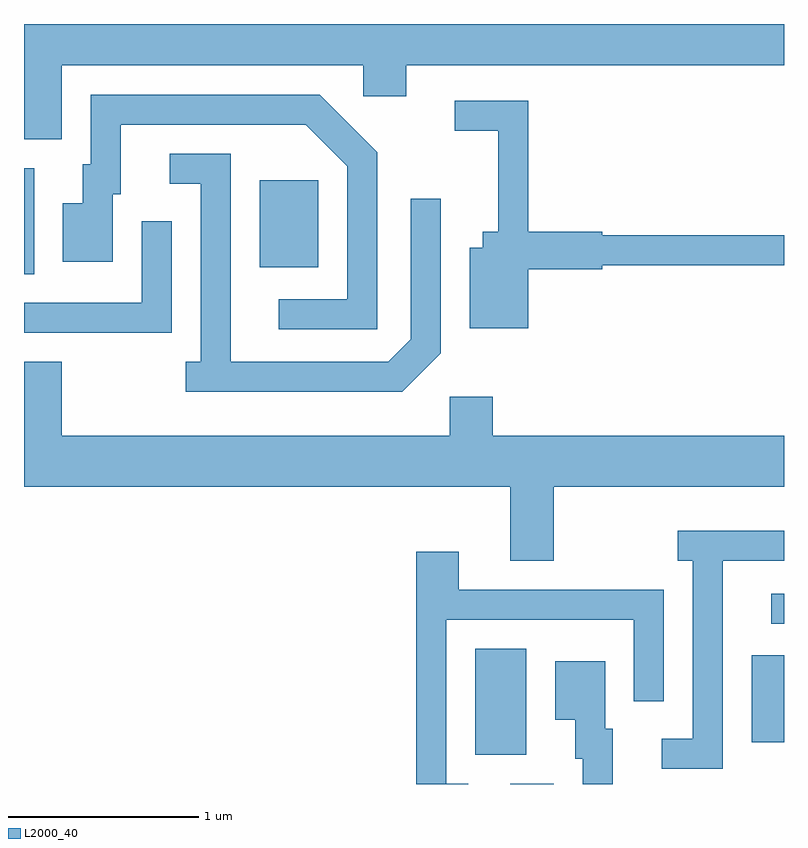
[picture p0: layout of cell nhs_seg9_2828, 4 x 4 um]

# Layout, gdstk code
import gdstk
lib = gdstk.Library(unit=1e-6, precision=1e-09)
def R(c, l, rs):  # rectangles x0, y0, x1, y1
    for r in rs: c.add(gdstk.rectangle(r[:2], r[2:], *l))
def P(c, l, *ps):  # polygons
    for p in ps: c.add(gdstk.Polygon(p, *l))
L2000_40 = (2000, 40)

nhs_seg9_2828 = lib.new_cell('nhs_seg9_2828')
R(nhs_seg9_2828, L2000_40, [(270.171,2032.432,270.399,2032.434), (269.986,2032.586,270.254,2033.144), (271.441,2032.651,271.611,2033.109), (271.543,2033.276,271.611,2033.434), (267.611,2035.116,267.664,2035.674), (268.851,2035.151,269.159,2035.609)])
P(nhs_seg9_2828, L2000_40, [(267.809,2036.216),(269.396,2036.216),(269.396,2036.051),(269.624,2036.051),(269.624,2036.216),(271.611,2036.216),(271.611,2036.432),(267.611,2036.432),(267.611,2035.826),(267.809,2035.826)],
  [(269.469,2035.757),(269.167,2036.059),(267.961,2036.059),(267.961,2035.694),(267.921,2035.694),(267.921,2035.489),(267.816,2035.489),(267.816,2035.181),(268.079,2035.181),(268.079,2035.536),(268.119,2035.536),(268.119,2035.901),(269.094,2035.901),(269.311,2035.684),(269.311,2034.984),(268.953,2034.984),(268.953,2034.826),(269.469,2034.826)],
  [(270.264,2035.141),(270.654,2035.141),(270.654,2035.161),(271.611,2035.161),(271.611,2035.319),(270.654,2035.319),(270.654,2035.339),(270.264,2035.339),(270.264,2036.029),(269.878,2036.029),(269.878,2035.871),(270.106,2035.871),(270.106,2035.339),(270.026,2035.339),(270.026,2035.254),(269.956,2035.254),(269.956,2034.831),(270.264,2034.831)],
  [(269.804,2034.699),(269.804,2035.513),(269.646,2035.513),(269.646,2034.772),(269.529,2034.654),(268.699,2034.654),(268.699,2035.749),(268.378,2035.749),(268.378,2035.591),(268.541,2035.591),(268.541,2034.654),(268.463,2034.654),(268.463,2034.496),(269.602,2034.496)],
  [(268.389,2035.393),(268.231,2035.393),(268.231,2034.964),(267.611,2034.964),(267.611,2034.806),(268.389,2034.806)],
  [(270.399,2033.996),(271.611,2033.996),(271.611,2034.264),(270.079,2034.264),(270.079,2034.469),(269.851,2034.469),(269.851,2034.264),(267.809,2034.264),(267.809,2034.654),(267.611,2034.654),(267.611,2033.996),(270.171,2033.996),(270.171,2033.606),(270.399,2033.606)],
  [(271.289,2033.606),(271.611,2033.606),(271.611,2033.764),(271.053,2033.764),(271.053,2033.606),(271.131,2033.606),(271.131,2032.669),(270.968,2032.669),(270.968,2032.511),(271.289,2032.511)],
  [(269.948,2032.434),(269.834,2032.434),(269.834,2033.296),(270.821,2033.296),(270.821,2032.868),(270.979,2032.868),(270.979,2033.454),(269.899,2033.454),(269.899,2033.654),(269.676,2033.654),(269.676,2032.432),(269.948,2032.432)],
  [(270.709,2032.724),(270.669,2032.724),(270.669,2033.079),(270.406,2033.079),(270.406,2032.771),(270.511,2032.771),(270.511,2032.566),(270.551,2032.566),(270.551,2032.432),(270.709,2032.432)])

lib.write_gds('nhs_seg9_2828.gds')
